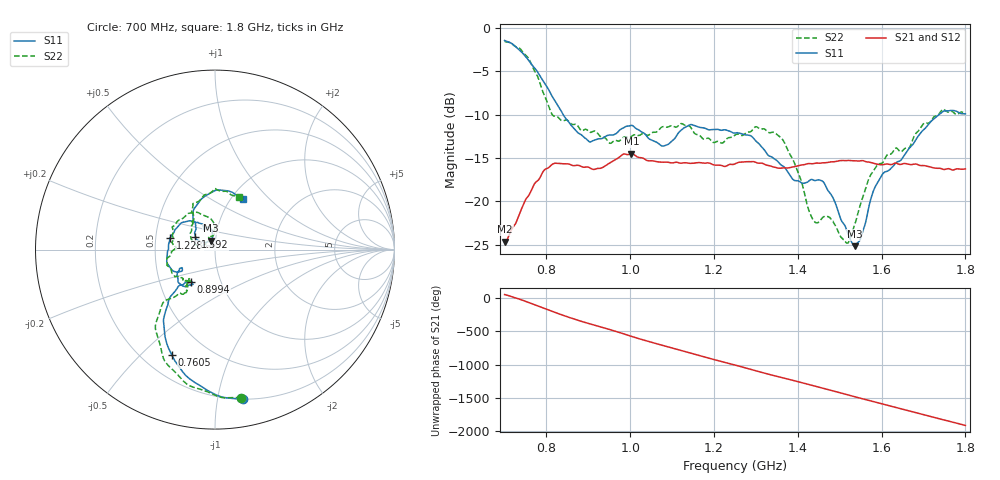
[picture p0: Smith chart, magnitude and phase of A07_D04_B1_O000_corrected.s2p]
! Created with skrf 1.9.0 (http://scikit-rf.org).
# Hz S RI R 50.0
!freq ReS11 ImS11 ReS21 ImS21 ReS12 ImS12 ReS22 ImS22
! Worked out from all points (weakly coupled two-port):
!   1601 points, 700 MHz to 1.8 GHz, reference 50 ohm
!   highest |S21| = -14.50 dB at 1.002 GHz (marker M1); lowest = -24.6 dB at 701.4 MHz (marker M2)
!   lowest |S11| = -25.2 dB at 1.535 GHz (marker M3), VSWR 1.12, Z = 47.5 + j4.74 ohm
!   |S11| at or under -10 dB: 840 MHz to 1.737 GHz (896.5 MHz wide, 69.6 % of centre)
!   |S22| runs from -24.8 to -1.5 dB; largest |S21 - S12| = 0.0034
!   S11 on the Smith chart (normalised r, x): 700 MHz: 0.20, -1.19; 760.5 MHz: 0.32, -0.62; 899.4 MHz: 0.72, -0.27; 1.228 GHz: 0.60, +0.08; 1.592 GHz: 0.80, +0.11; 1.8 GHz: 1.13, +0.71
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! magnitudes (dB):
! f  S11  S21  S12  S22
! 700 MHz  -1.4  -24.6  -24.4  -1.5
! 701.4 MHz  -1.5  -24.6  -24.3  -1.6
! 760.5 MHz  -4.0  -19.1  -18.9  -3.8
! 814.1 MHz  -7.9  -15.7  -15.7  -10.0
! 883.6 MHz  -12.3  -16.0  -15.9  -11.8
! 899.4 MHz  -13.0  -16.0  -16.1  -11.9
! 1.002 GHz  -11.2  -14.5  -14.6  -12.5
! 1.067 GHz  -13.3  -15.4  -15.4  -11.8
! 1.143 GHz  -11.1  -15.6  -15.6  -11.4
! 1.228 GHz  -11.8  -15.9  -15.8  -12.9
! 1.25 GHz  -12.1  -15.7  -15.6  -12.4
! 1.301 GHz  -13.1  -15.5  -15.5  -11.4
! 1.361 GHz  -15.8  -16.2  -16.2  -12.7
! 1.434 GHz  -17.5  -15.7  -15.6  -21.9
! 1.462 GHz  -17.9  -15.5  -15.5  -21.8
! 1.517 GHz  -23.3  -15.3  -15.3  -24.8
! 1.535 GHz  -25.2  -15.3  -15.3  -22.8
! 1.592 GHz  -17.7  -15.7  -15.7  -15.7
! 1.617 GHz  -16.4  -15.7  -15.7  -14.6
! 1.665 GHz  -13.9  -15.7  -15.7  -13.9
! 1.742 GHz  -9.8  -16.2  -16.2  -9.5
! 1.8 GHz  -9.9  -16.3  -16.2  -9.9
